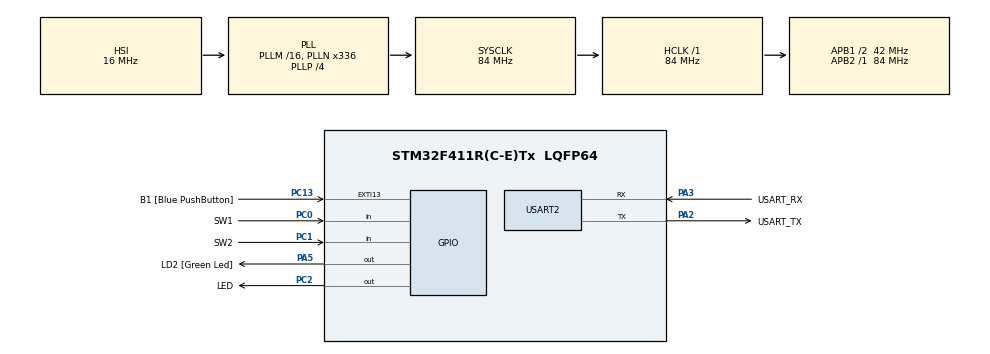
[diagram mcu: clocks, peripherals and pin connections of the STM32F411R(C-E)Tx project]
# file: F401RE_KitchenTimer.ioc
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Mcu.Family=STM32F4
Mcu.Name=STM32F411R(C-E)Tx
Mcu.Package=LQFP64
NVIC.PriorityGroup=NVIC_PRIORITYGROUP_0
NVIC.USART2_IRQn=true\:0\:0\:false\:false\:true
PA13.GPIO_Label=TMS
PA13.Signal=SYS_JTMS-SWDIO
PA14.GPIO_Label=TCK
PA14.Signal=SYS_JTCK-SWCLK
PA2.GPIO_Label=USART_TX
PA2.Mode=Asynchronous
PA2.Signal=USART2_TX
PA3.GPIO_Label=USART_RX
PA3.Mode=Asynchronous
PA3.Signal=USART2_RX
PA5.GPIO_Label=LD2 [Green Led]
PA5.Signal=GPIO_Output
PB3.GPIO_Label=SWO
PB3.Signal=SYS_JTDO-SWO
PC0.GPIO_Label=SW1
PC0.Signal=GPIO_Input
PC1.GPIO_Label=SW2
PC1.Signal=GPIO_Input
PC13-ANTI_TAMP.GPIO_Label=B1 [Blue PushButton]
PC13-ANTI_TAMP.GPIO_ModeDefaultEXTI=GPIO_MODE_EVT_RISING
PC13-ANTI_TAMP.Signal=GPXTI13
PC14-OSC32_IN.Signal=RCC_OSC32_IN
PC15-OSC32_OUT.Signal=RCC_OSC32_OUT
PC2.GPIO_Label=LED
PC2.Signal=GPIO_Output
PH0\ -\ OSC_IN.Signal=RCC_OSC_IN
PH1\ -\ OSC_OUT.Signal=RCC_OSC_OUT
ProjectManager.HeapSize=0x200
ProjectManager.StackSize=0x400
ProjectManager.TargetToolchain=MDK-ARM V5
RCC.48MHZClocksFreq_Value=84000000
RCC.AHBFreq_Value=84000000
RCC.APB1CLKDivider=RCC_HCLK_DIV2
RCC.APB1Freq_Value=42000000
RCC.APB1TimFreq_Value=84000000
RCC.APB2Freq_Value=84000000
RCC.APB2TimFreq_Value=84000000
RCC.CortexFreq_Value=84000000
RCC.FLatency-AdvancedSettings=FLASH_LATENCY_2
RCC.HCLKFreq_Value=84000000
RCC.HSE_VALUE=8000000
RCC.HSI_VALUE=16000000
RCC.LSE_VALUE=32768
RCC.PLLN=336
RCC.PLLP=RCC_PLLP_DIV4
RCC.SYSCLKFreq_VALUE=84000000
RCC.SYSCLKSource=RCC_SYSCLKSOURCE_PLLCLK
RCC.VCOOutputFreq_Value=336000000
board=NUCLEO-F411RE

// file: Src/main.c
/**
  ******************************************************************************
  * File Name          : main.c
  * Description        : Main program body
  ******************************************************************************
  *
  * COPYRIGHT(c) 2016 STMicroelectronics
  *
  * Redistribution and use in source and binary forms, with or without modification,
  * are permitted provided that the following conditions are met:
  *   1. Redistributions of source code must retain the above copyright notice,
  *      this list of conditions and the following disclaimer.
  *   2. Redistributions in binary form must reproduce the above copyright notice,
  *      this list of conditions and the following disclaimer in the documentation
  *      and/or other materials provided with the distribution.
  *   3. Neither the name of STMicroelectronics nor the names of its contributors
  *      may be used to endorse or promote products derived from this software
  *      without specific prior written permission.
  *
  * THIS SOFTWARE IS PROVIDED BY THE COPYRIGHT HOLDERS AND CONTRIBUTORS "AS IS"
  * AND ANY EXPRESS OR IMPLIED WARRANTIES, INCLUDING, BUT NOT LIMITED TO, THE
  * IMPLIED WARRANTIES OF MERCHANTABILITY AND FITNESS FOR A PARTICULAR PURPOSE ARE
  * DISCLAIMED. IN NO EVENT SHALL THE COPYRIGHT HOLDER OR CONTRIBUTORS BE LIABLE
  * FOR ANY DIRECT, INDIRECT, INCIDENTAL, SPECIAL, EXEMPLARY, OR CONSEQUENTIAL
  * DAMAGES (INCLUDING, BUT NOT LIMITED TO, PROCUREMENT OF SUBSTITUTE GOODS OR
  * SERVICES; LOSS OF USE, DATA, OR PROFITS; OR BUSINESS INTERRUPTION) HOWEVER
  * CAUSED AND ON ANY THEORY OF LIABILITY, WHETHER IN CONTRACT, STRICT LIABILITY,
  * OR TORT (INCLUDING NEGLIGENCE OR OTHERWISE) ARISING IN ANY WAY OUT OF THE USE
  * OF THIS SOFTWARE, EVEN IF ADVISED OF THE POSSIBILITY OF SUCH DAMAGE.
  *
  ******************************************************************************
  */
#include "stm32f4xx_hal.h"

/* USER CODE BEGIN Includes */
#include <stdio.h>
#include <stdlib.h>
#include <string.h>
/* USER CODE END Includes */

UART_HandleTypeDef huart2;

/* USER CODE BEGIN PV */
/* Private variables ---------------------------------------------------------*/
#define	LED_PORT		GPIOC
#define	LED_PIN			GPIO_PIN_2
#define	LED_ON			GPIO_PIN_SET
#define	LED_OFF		GPIO_PIN_RESET
#define	SW_0				GPIO_PIN_13
#define	SW_1				GPIO_PIN_0
#define	SW_2				GPIO_PIN_1
#define	SW_OFF			GPIO_PIN_SET
#define	SW_ON			GPIO_PIN_RESET

#define	mSW0	1
#define	mSW1	2
#define	mSW2	4

volatile int time_count = 0;

// state
#define	SET	0
#define	RUN	1

char State = SET;

/* USER CODE END PV */

void SystemClock_Config(void);
void Error_Handler(void);
static void MX_GPIO_Init(void);
static void MX_USART2_UART_Init(void);

/* USER CODE BEGIN PFP */
/* Private function prototypes -----------------------------------------------*/
char DGetSwitch(void);
char GetSwitch(void);
void ShowCount(void);
void Beep(int mode);
char sio_getc(void);		// UARTから1文字取得
void sio_putc(char);		// UARTに1文字を出力
void sio_puts(char *);	// UARTに文字列を出力
/* USER CODE END PFP */

/* USER CODE BEGIN 0 */

void HAL_SYSTICK_Callback(){
	int ms;
	if(State == RUN){
		if(ms == 1000){
			time_count--;
			ms = 0;
		}
		ms++;
	}
}

char DGetSwitch()
{
	// スイッチの状態を返す
	char swmask;
	if(HAL_GPIO_ReadPin(GPIOC, SW_0) == SW_ON){
		swmask |= mSW0;
	}
	if(HAL_GPIO_ReadPin(GPIOC, SW_1) == SW_ON){
		swmask |= mSW1;
	}
	if(HAL_GPIO_ReadPin(GPIOC, SW_2) == SW_ON){
		swmask |= mSW2;
	}
	HAL_Delay(20);
	return swmask;
}

void WaitOff()
{
	// スイッチが全て開放されるまで待つ
	while(DGetSwitch()) ;
}

char GetSwitch()
{
	// スイッチが押されるまで待ってから、スイッチの状態を返す
	char sw;
	WaitOff();
	do{
		sw = DGetSwitch();
	}while(sw == 0) ;
	return sw;
}

void ShowCount()
{
	char str[16];
	int min, sec;
	min = time_count / 60;
	sec = time_count % 60;
	sprintf(str, "%02d:%02d\n", min , sec);
	sio_puts(str);
}

void Beep(int mode)
{
	if(mode){
		HAL_GPIO_WritePin(LED_PORT, LED_PIN, LED_ON);
	} else {
		HAL_GPIO_WritePin(LED_PORT, LED_PIN, LED_OFF);
	}

}

char sio_getc()
{
	char ch;
	while(HAL_UART_Receive(&huart2, (uint8_t *)&ch, 1, 1000)==HAL_TIMEOUT) ;
	return ch;
}

void sio_putc(char ch)
{
	HAL_UART_Transmit(&huart2, (uint8_t *)&ch, 1, 1000);
}

void sio_puts(char *str)
{
	HAL_UART_Transmit(&huart2, (uint8_t *)str, strlen(str), 1000);
}
/* USER CODE END 0 */

int main(void)
{

  /* USER CODE BEGIN 1 */
	char sw;
	int min, sec;
	char *modestr[2] = {(char *)"SET ", (char *)"RUN "};
	int lastval;
  /* USER CODE END 1 */

  /* MCU Configuration----------------------------------------------------------*/

  /* Reset of all peripherals, Initializes the Flash interface and the Systick. */
  HAL_Init();

  /* Configure the system clock */
  SystemClock_Config();

  /* Initialize all configured peripherals */
  MX_GPIO_Init();
  MX_USART2_UART_Init();

  /* USER CODE BEGIN 2 */
	sio_puts(modestr[State]);
	time_count = 0;
	ShowCount();
  /* USER CODE END 2 */

  /* Infinite loop */
  /* USER CODE BEGIN WHILE */
  while (1)
  {
	  if(State == SET){
		  sw = GetSwitch();
		  sec = time_count % 60;
		  min = time_count / 60;
		  switch(sw){
			  case mSW0: {
				  WaitOff();
				  State = RUN;
				  sio_puts(modestr[State]);
				  lastval = time_count;
				  Beep(0);
				  break;
			  }
			  case mSW1: {
				  sec = (sec + 5) % 60;
				  break;
			  }
			  case mSW2: {
				  min = (min + 1) % 16;
				  break;
			  }
		  }
		  time_count = min * 60 + sec;
		  ShowCount();
	  } else {
		  if(lastval != time_count){
			  ShowCount();
			  lastval = time_count;
		  }
		  sw = DGetSwitch();
		  if(sw == mSW0){
			  State = SET;
			  sio_puts(modestr[State]);
		  }
		  if(time_count == 0){
			  ShowCount();
			  Beep(1);
			  State = SET;
			  sio_puts(modestr[State]);
		  }
	  }
  /* USER CODE END WHILE */

  }

}

/** System Clock Configuration
*/
void SystemClock_Config(void)
{

  RCC_OscInitTypeDef RCC_OscInitStruct;
  RCC_ClkInitTypeDef RCC_ClkInitStruct;

  __HAL_RCC_PWR_CLK_ENABLE();

  __HAL_PWR_VOLTAGESCALING_CONFIG(PWR_REGULATOR_VOLTAGE_SCALE1);

  RCC_OscInitStruct.OscillatorType = RCC_OSCILLATORTYPE_HSI;
  RCC_OscInitStruct.HSIState = RCC_HSI_ON;
  RCC_OscInitStruct.HSICalibrationValue = 16;
  RCC_OscInitStruct.PLL.PLLState = RCC_PLL_ON;
  RCC_OscInitStruct.PLL.PLLSource = RCC_PLLSOURCE_HSI;
  RCC_OscInitStruct.PLL.PLLM = 16;
  RCC_OscInitStruct.PLL.PLLN = 336;
  RCC_OscInitStruct.PLL.PLLP = RCC_PLLP_DIV4;
  RCC_OscInitStruct.PLL.PLLQ = 4;
  if (HAL_RCC_OscConfig(&RCC_OscInitStruct) != HAL_OK)
  {
    Error_Handler();
  }

  RCC_ClkInitStruct.ClockType = RCC_CLOCKTYPE_HCLK|RCC_CLOCKTYPE_SYSCLK
                              |RCC_CLOCKTYPE_PCLK1|RCC_CLOCKTYPE_PCLK2;
  RCC_ClkInitStruct.SYSCLKSource = RCC_SYSCLKSOURCE_PLLCLK;
  RCC_ClkInitStruct.AHBCLKDivider = RCC_SYSCLK_DIV1;
  RCC_ClkInitStruct.APB1CLKDivider = RCC_HCLK_DIV2;
  RCC_ClkInitStruct.APB2CLKDivider = RCC_HCLK_DIV1;
  if (HAL_RCC_ClockConfig(&RCC_ClkInitStruct, FLASH_LATENCY_2) != HAL_OK)
  {
    Error_Handler();
  }

  HAL_SYSTICK_Config(HAL_RCC_GetHCLKFreq()/1000);

  HAL_SYSTICK_CLKSourceConfig(SYSTICK_CLKSOURCE_HCLK);

  /* SysTick_IRQn interrupt configuration */
  HAL_NVIC_SetPriority(SysTick_IRQn, 0, 0);
}

/* USART2 init function */
static void MX_USART2_UART_Init(void)
{

  huart2.Instance = USART2;
  huart2.Init.BaudRate = 115200;
  huart2.Init.WordLength = UART_WORDLENGTH_8B;
  huart2.Init.StopBits = UART_STOPBITS_1;
  huart2.Init.Parity = UART_PARITY_NONE;
  huart2.Init.Mode = UART_MODE_TX_RX;
  huart2.Init.HwFlowCtl = UART_HWCONTROL_NONE;
  huart2.Init.OverSampling = UART_OVERSAMPLING_16;
  if (HAL_UART_Init(&huart2) != HAL_OK)
  {
    Error_Handler();
  }

}

/** Configure pins as
        * Analog
        * Input
        * Output
        * EVENT_OUT
        * EXTI
*/
static void MX_GPIO_Init(void)
{

  GPIO_InitTypeDef GPIO_InitStruct;

  /* GPIO Ports Clock Enable */
  __HAL_RCC_GPIOC_CLK_ENABLE();
  __HAL_RCC_GPIOH_CLK_ENABLE();
  __HAL_RCC_GPIOA_CLK_ENABLE();
  __HAL_RCC_GPIOB_CLK_ENABLE();

  /*Configure GPIO pin : B1_Pin */
  GPIO_InitStruct.Pin = B1_Pin;
  GPIO_InitStruct.Mode = GPIO_MODE_EVT_RISING;
  GPIO_InitStruct.Pull = GPIO_NOPULL;
  HAL_GPIO_Init(B1_GPIO_Port, &GPIO_InitStruct);

  /*Configure GPIO pins : SW1_Pin SW2_Pin */
  GPIO_InitStruct.Pin = SW1_Pin|SW2_Pin;
  GPIO_InitStruct.Mode = GPIO_MODE_INPUT;
  GPIO_InitStruct.Pull = GPIO_NOPULL;
  HAL_GPIO_Init(GPIOC, &GPIO_InitStruct);

  /*Configure GPIO pin : LED_Pin */
  GPIO_InitStruct.Pin = LED_Pin;
  GPIO_InitStruct.Mode = GPIO_MODE_OUTPUT_PP;
  GPIO_InitStruct.Pull = GPIO_NOPULL;
  GPIO_InitStruct.Speed = GPIO_SPEED_FREQ_LOW;
  HAL_GPIO_Init(LED_GPIO_Port, &GPIO_InitStruct);

  /*Configure GPIO pin : LD2_Pin */
  GPIO_InitStruct.Pin = LD2_Pin;
  GPIO_InitStruct.Mode = GPIO_MODE_OUTPUT_PP;
  GPIO_InitStruct.Pull = GPIO_NOPULL;
  GPIO_InitStruct.Speed = GPIO_SPEED_FREQ_LOW;
  HAL_GPIO_Init(LD2_GPIO_Port, &GPIO_InitStruct);

  /*Configure GPIO pin Output Level */
  HAL_GPIO_WritePin(LED_GPIO_Port, LED_Pin, GPIO_PIN_RESET);

  /*Configure GPIO pin Output Level */
  HAL_GPIO_WritePin(LD2_GPIO_Port, LD2_Pin, GPIO_PIN_RESET);

}

void Error_Handler(void)
{
  while(1)
  {
  }
}

/************************ (C) COPYRIGHT STMicroelectronics *****END OF FILE****/
